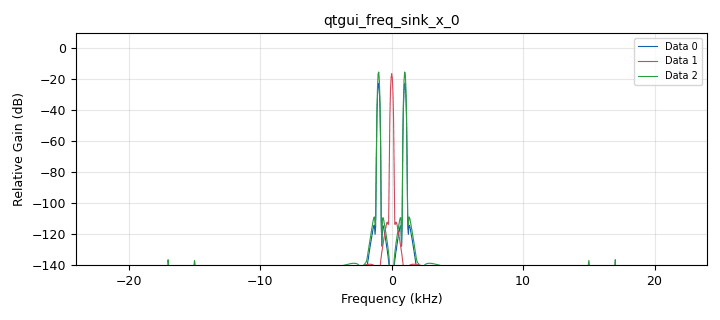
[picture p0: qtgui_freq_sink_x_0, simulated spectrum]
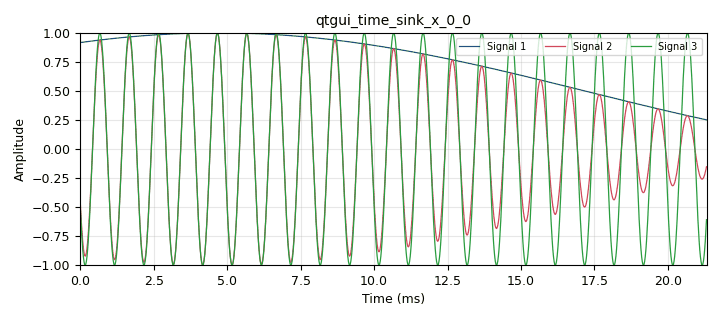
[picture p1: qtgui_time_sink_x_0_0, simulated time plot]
options:
  parameters:
    generate_options: qt_gui
    id: task1
    output_language: python
    title: Not titled yet
  states: {}

blocks:
- name: samp_rate
  id: variable
  parameters:
    value: '48000'
  states: {}
- name: analog_const_source_x_0
  id: analog_const_source_x
  parameters:
    const: '2'
    type: float
  states: {}
- name: analog_sig_source_x_0
  id: analog_sig_source_x
  parameters:
    amp: '1'
    freq: '20'
    offset: '0'
    phase: '0'
    samp_rate: samp_rate
    type: float
    waveform: analog.GR_COS_WAVE
  states: {}
- name: analog_sig_source_x_1
  id: analog_sig_source_x
  parameters:
    amp: '1'
    freq: '1000'
    offset: '0'
    phase: '0'
    samp_rate: samp_rate
    type: float
    waveform: analog.GR_COS_WAVE
  states: {}
- name: blocks_add_const_vxx_0
  id: blocks_add_const_vxx
  parameters:
    const: '1'
    type: float
  states: {}
- name: blocks_divide_xx_0
  id: blocks_divide_xx
  parameters:
    type: float
  states: {}
- name: blocks_multiply_xx_0
  id: blocks_multiply_xx
  parameters:
    type: float
  states: {}
- name: blocks_throttle2_1
  id: blocks_throttle2
  parameters:
    samples_per_second: samp_rate
    type: float
  states: {}
- name: qtgui_freq_sink_x_0
  id: qtgui_freq_sink_x
  parameters:
    average: '0.2'
    bw: samp_rate
    fc: '0'
    fftsize: '1024'
    nconnections: '3'
    type: float
  states: {}
- name: qtgui_time_sink_x_0_0
  id: qtgui_time_sink_x
  parameters:
    color1: green
    ctrlpanel: 'True'
    gui_hint: tab@0
    nconnections: '3'
    size: '1024'
    srate: samp_rate
    type: float
  states: {}
- name: tab
  id: qtgui_tab_widget
  parameters:
    label0: Tab 0
    label1: Tab 1
    label2: Tab 2
    num_tabs: '3'
  states: {}

connections:
- [analog_const_source_x_0, '0', blocks_divide_xx_0, '1']
- [analog_sig_source_x_0, '0', blocks_add_const_vxx_0, '0']
- [analog_sig_source_x_1, '0', blocks_multiply_xx_0, '1']
- [analog_sig_source_x_1, '0', qtgui_freq_sink_x_0, '2']
- [analog_sig_source_x_1, '0', qtgui_time_sink_x_0_0, '2']
- [blocks_add_const_vxx_0, '0', blocks_divide_xx_0, '0']
- [blocks_divide_xx_0, '0', blocks_multiply_xx_0, '0']
- [blocks_divide_xx_0, '0', qtgui_freq_sink_x_0, '1']
- [blocks_divide_xx_0, '0', qtgui_time_sink_x_0_0, '0']
- [blocks_multiply_xx_0, '0', blocks_throttle2_1, '0']
- [blocks_throttle2_1, '0', qtgui_freq_sink_x_0, '0']
- [blocks_throttle2_1, '0', qtgui_time_sink_x_0_0, '1']

metadata:
  file_format: 1
  grc_version: 3.10.10.0
